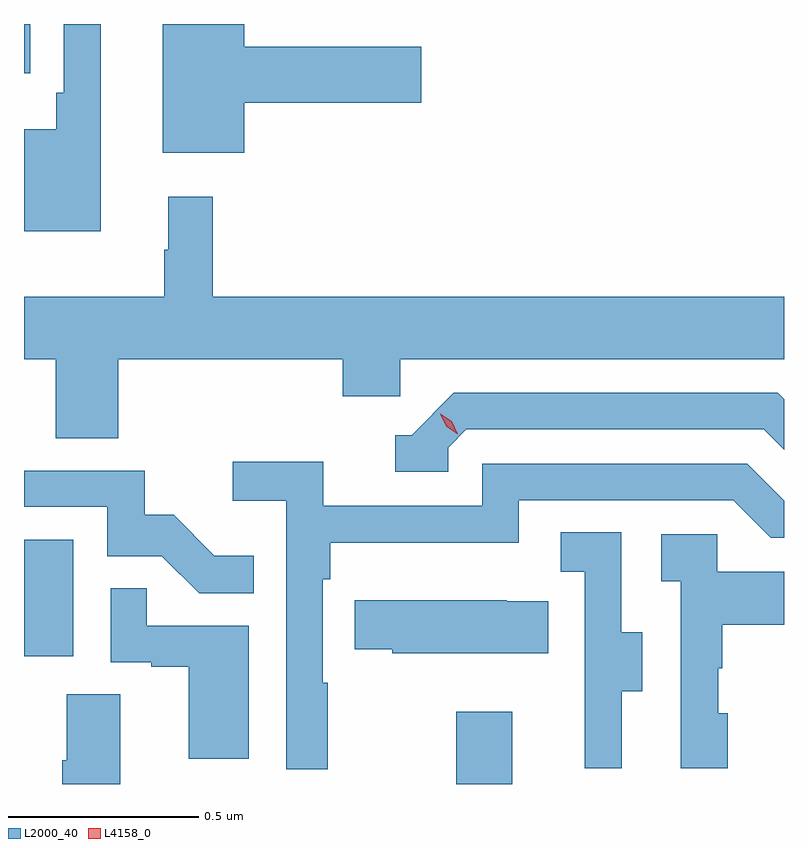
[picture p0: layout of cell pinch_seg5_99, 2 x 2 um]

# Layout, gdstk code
import gdstk
lib = gdstk.Library(unit=1e-6, precision=1e-09)
def R(c, l, rs):  # rectangles x0, y0, x1, y1
    for r in rs: c.add(gdstk.rectangle(r[:2], r[2:], *l))
def P(c, l, *ps):  # polygons
    for p in ps: c.add(gdstk.Polygon(p, *l))
L2000_40 = (2000, 40)
L4158_0 = (4158, 0)

pinch_seg5_99 = lib.new_cell('pinch_seg5_99')
R(pinch_seg5_99, L2000_40, [(1077.802,912.918,1077.949,913.108), (1076.664,913.254,1076.794,913.561), (1076.664,914.789,1076.68,914.918)])
P(pinch_seg5_99, L2000_40, [(1077.244,914.711),(1077.709,914.711),(1077.709,914.858),(1077.244,914.858),(1077.244,914.918),(1077.029,914.918),(1077.029,914.579),(1077.244,914.579)],
  [(1076.866,914.918),(1076.769,914.918),(1076.769,914.737),(1076.749,914.737),(1076.749,914.641),(1076.664,914.641),(1076.664,914.372),(1076.866,914.372)],
  [(1076.912,914.036),(1077.503,914.036),(1077.503,913.938),(1077.654,913.938),(1077.654,914.036),(1078.664,914.036),(1078.664,914.2),(1077.161,914.2),(1077.161,914.464),(1077.044,914.464),(1077.044,914.324),(1077.033,914.324),(1077.033,914.2),(1076.664,914.2),(1076.664,914.036),(1076.747,914.036),(1076.747,913.828),(1076.912,913.828)],
  [(1077.78,913.803),(1077.828,913.851),(1078.611,913.851),(1078.664,913.798),(1078.664,913.931),(1078.648,913.947),(1077.795,913.947),(1077.684,913.836),(1077.641,913.836),(1077.641,913.74),(1077.78,913.74)],
  [(1077.463,913.184),(1077.45,913.184),(1077.45,913.457),(1077.47,913.457),(1077.47,913.553),(1077.966,913.553),(1077.966,913.665),(1078.53,913.665),(1078.629,913.566),(1078.664,913.566),(1078.664,913.664),(1078.567,913.761),(1077.87,913.761),(1077.87,913.65),(1077.452,913.65),(1077.452,913.766),(1077.213,913.766),(1077.213,913.664),(1077.354,913.664),(1077.354,912.957),(1077.463,912.957)],
  [(1077.269,913.519),(1077.165,913.519),(1077.058,913.626),(1076.982,913.626),(1076.982,913.743),(1076.664,913.743),(1076.664,913.647),(1076.883,913.647),(1076.883,913.518),(1077.027,913.518),(1077.125,913.42),(1077.269,913.42)],
  [(1078.237,913.162),(1078.291,913.162),(1078.291,913.317),(1078.236,913.317),(1078.236,913.58),(1078.077,913.58),(1078.077,913.477),(1078.14,913.477),(1078.14,913.173),(1078.139,913.173),(1078.139,912.96),(1078.237,912.96)],
  [(1078.516,913.104),(1078.491,913.104),(1078.491,913.223),(1078.501,913.223),(1078.501,913.337),(1078.664,913.337),(1078.664,913.477),(1078.488,913.477),(1078.488,913.575),(1078.341,913.575),(1078.341,913.451),(1078.392,913.451),(1078.392,912.96),(1078.516,912.96)],
  [(1077.256,913.335),(1076.987,913.335),(1076.987,913.433),(1076.892,913.433),(1076.892,913.239),(1076.999,913.239),(1076.999,913.227),(1077.098,913.227),(1077.098,912.984),(1077.256,912.984)],
  [(1078.043,913.399),(1077.935,913.399),(1077.935,913.402),(1077.535,913.402),(1077.535,913.273),(1077.633,913.273),(1077.633,913.262),(1078.043,913.262)],
  [(1076.917,913.154),(1076.777,913.154),(1076.777,912.98),(1076.765,912.98),(1076.765,912.918),(1076.917,912.918)])
P(pinch_seg5_99, L4158_0, [(1077.806,913.839),(1077.775,913.859),(1077.76,913.891),(1077.76,913.892),(1077.76,913.892),(1077.79,913.872),(1077.806,913.839),(1077.806,913.839)])

lib.write_gds('pinch_seg5_99.gds')
